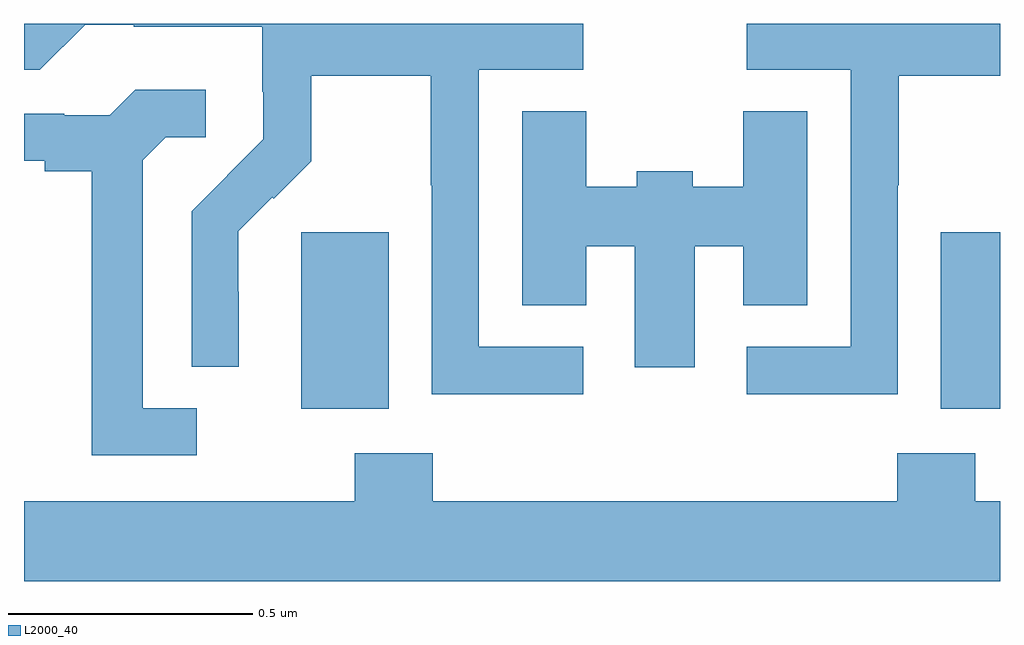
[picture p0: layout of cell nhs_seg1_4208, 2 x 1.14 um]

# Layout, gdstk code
import gdstk
lib = gdstk.Library(unit=1e-6, precision=1e-09)
def R(c, l, rs):  # rectangles x0, y0, x1, y1
    for r in rs: c.add(gdstk.rectangle(r[:2], r[2:], *l))
def P(c, l, *ps):  # polygons
    for p in ps: c.add(gdstk.Polygon(p, *l))
L2000_40 = (2000, 40)

nhs_seg1_4208 = lib.new_cell('nhs_seg1_4208')
R(nhs_seg1_4208, L2000_40, [(163.568,561.41,163.747,561.771), (164.879,561.41,165,561.771)])
P(nhs_seg1_4208, L2000_40, [(164.146,561.537),(163.932,561.537),(163.932,562.104),(164.146,562.104),(164.146,562.199),(163,562.199),(163,562.104),(163.032,562.104),(163.125,562.197),(163.225,562.197),(163.225,562.193),(163.488,562.193),(163.488,562.059),(163.49,562.059),(163.49,561.962),(163.416,561.888),(163.417,561.887),(163.344,561.814),(163.344,561.496),(163.44,561.496),(163.44,561.65),(163.439,561.65),(163.439,561.773),(163.509,561.843),(163.512,561.84),(163.589,561.917),(163.589,562.092),(163.834,562.092),(163.834,561.868),(163.836,561.868),(163.836,561.439),(164.146,561.439)],
  [(164.79,561.868),(164.793,561.868),(164.793,562.092),(165,562.092),(165,562.199),(164.481,562.199),(164.481,562.104),(164.694,562.104),(164.694,561.537),(164.481,561.537),(164.481,561.439),(164.79,561.439)],
  [(163.354,561.411),(163.243,561.411),(163.243,561.919),(163.29,561.966),(163.372,561.966),(163.372,562.063),(163.228,562.063),(163.176,562.011),(163.082,562.011),(163.082,562.014),(163,562.014),(163,561.918),(163.043,561.918),(163.043,561.896),(163.139,561.896),(163.139,561.315),(163.354,561.315)],
  [(164.374,561.743),(164.474,561.743),(164.474,561.622),(164.605,561.622),(164.605,562.019),(164.474,562.019),(164.474,561.865),(164.37,561.865),(164.37,561.896),(164.256,561.896),(164.256,561.865),(164.152,561.865),(164.152,562.019),(164.021,562.019),(164.021,561.622),(164.152,561.622),(164.152,561.743),(164.252,561.743),(164.252,561.495),(164.374,561.495)],
  [(165,561.22),(164.949,561.22),(164.949,561.319),(164.789,561.319),(164.789,561.22),(163.838,561.22),(163.838,561.319),(163.678,561.319),(163.678,561.22),(163,561.22),(163,561.056),(165,561.056)])

lib.write_gds('nhs_seg1_4208.gds')
